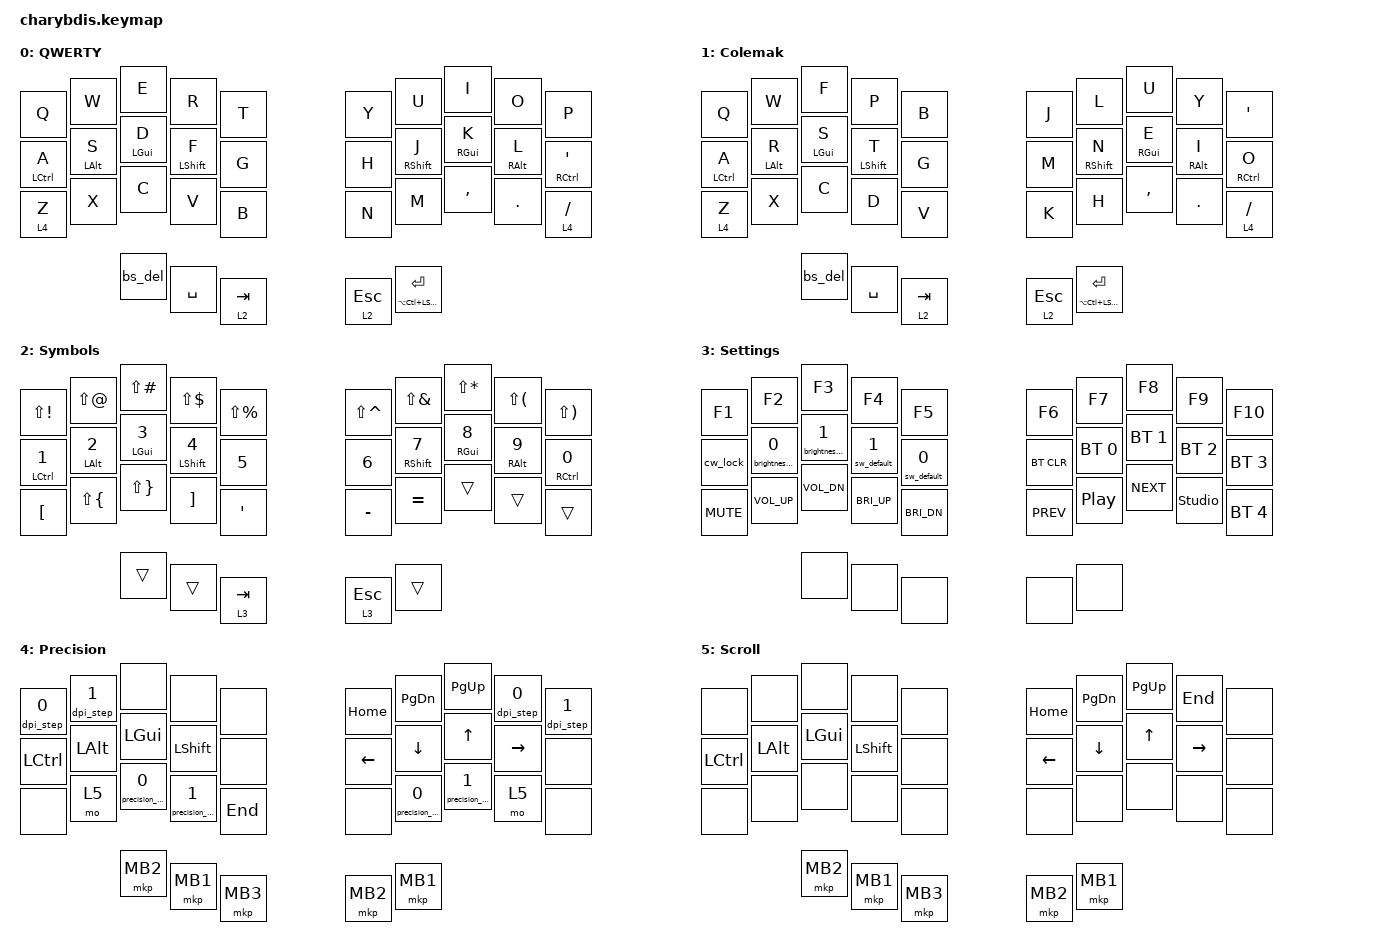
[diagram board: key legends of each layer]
#include <behaviors.dtsi>
#include <dt-bindings/zmk/bt.h>
#include <dt-bindings/zmk/keys.h>
#include <dt-bindings/zmk/pointing.h>

&lt {
    tapping-term-ms = <180>;
    flavor = "balanced";
    quick-tap-ms = <120>;
};

/ {
    behaviors {
        dpi_step: dpi_step {
            display-name = "Default DPI";
            compatible = "charybdis,behavior-dpi-step";
            #binding-cells = <1>;
        };

        precision_step: precision_step {
            display-name = "Precision DPI";
            compatible = "charybdis,behavior-precision-step";
            #binding-cells = <1>;
        };
        brightness_step: brightness_step {
            display-name = "Prospector brightness";
            compatible = "charybdis,behavior-brightness-step";
            #binding-cells = <1>;
        };

        hml: hml {
            compatible = "zmk,behavior-hold-tap";
            label = "HML";
            bindings = <&kp>, <&kp>;

            #binding-cells = <2>;
            tapping-term-ms = <220>;
            quick-tap-ms = <120>;
            require-prior-idle-ms = <100>;
            flavor = "balanced";
            hold-trigger-key-positions = <5 6 7 8 9 15 16 17 18 19 25 26 27 28 29 33 34 30 31 32>;
            hold-trigger-on-release;
        };

        hmr: hmr {
            compatible = "zmk,behavior-hold-tap";
            label = "HMR";
            bindings = <&kp>, <&kp>;

            #binding-cells = <2>;
            tapping-term-ms = <220>;
            quick-tap-ms = <120>;
            require-prior-idle-ms = <100>;
            flavor = "balanced";
            hold-trigger-on-release;
            hold-trigger-key-positions = <0 1 2 3 4 10 11 12 13 14 20 21 22 23 24 30 31 32 33 34>;
        };

        hmls: hmls {
            compatible = "zmk,behavior-hold-tap";
            label = "HMLS";
            bindings = <&kp>, <&kp>;

            #binding-cells = <2>;
            tapping-term-ms = <130>;
            quick-tap-ms = <120>;
            flavor = "balanced";
            hold-trigger-key-positions = <5 6 7 8 9 15 16 17 18 19 25 26 27 28 29 33 34 30 31 32>;
            hold-trigger-on-release;
            hold-while-undecided;
            retro-tap;
        };

        hmrs: hmrs {
            compatible = "zmk,behavior-hold-tap";
            label = "HMRS";
            bindings = <&kp>, <&kp>;

            #binding-cells = <2>;
            tapping-term-ms = <130>;
            quick-tap-ms = <120>;
            flavor = "balanced";
            hold-trigger-on-release;
            hold-trigger-key-positions = <0 1 2 3 4 10 11 12 13 14 20 21 22 23 24 30 31 32 33 34>;
            hold-while-undecided;
            retro-tap;
        };

        hmlc: hmlc {
            compatible = "zmk,behavior-hold-tap";
            label = "HMLC";
            bindings = <&kp>, <&kp>;

            #binding-cells = <2>;
            tapping-term-ms = <220>;
            quick-tap-ms = <120>;
            require-prior-idle-ms = <100>;
            flavor = "balanced";
            hold-while-undecided;
            hold-trigger-key-positions = <5 6 7 8 9 15 16 17 18 19 25 26 27 28 29 33 34 30 31 32>;
            hold-trigger-on-release;
        };

        hmrc: hmrc {
            compatible = "zmk,behavior-hold-tap";
            label = "HMRC";
            bindings = <&kp>, <&kp>;

            #binding-cells = <2>;
            tapping-term-ms = <220>;
            quick-tap-ms = <120>;
            require-prior-idle-ms = <100>;
            flavor = "balanced";
            hold-while-undecided;
            hold-trigger-on-release;
            hold-trigger-key-positions = <0 1 2 3 4 10 11 12 13 14 20 21 22 23 24 30 31 32 33 34>;
        };

        sw_default: switch_default_layer_mode {
            compatible = "zmk-switch-layer,behavior-switch-default-layer-mode";
            #binding-cells = <1>;
            source-layer = <0>;
            target-layer = <1>;
        };

        scroll_tap: scroll_tap {
            compatible = "zmk,behavior-hold-tap";
            #binding-cells = <2>;
            bindings = <&mo>, <&kp>;
            flavor = "tap-preferred";
            tapping-term-ms = <180>;
            quick-tap-ms = <120>;
        };

        bs_del: bs_del {
            compatible = "zmk,behavior-mod-morph";
            label = "BACKSPACE_DELETE";
            bindings = <&kp BACKSPACE>, <&kp DELETE>;

            #binding-cells = <0>;
            mods = <(MOD_RSFT)>;
        };

        cw_lock: cw_lock {
            compatible = "zmk,behavior-tap-dance";
            label = "Caps Word + Lock tap dance";
            display-name = "Caps Word / Caps Lock";
            tapping-term-ms = <200>;
            // One tap: Caps Word; two taps: Caps Lock.
            #binding-cells = <0>;
            bindings = <&caps_word>, <&kp CAPSLOCK>;
        };
    };

    combos {
        compatible = "zmk,combos";

        Grave {
            bindings = <&scroll_tap 5 GRAVE>;
            slow-release;
            key-positions = <20 21>;
            layers = <0 1>;
        };

        Minus {
            bindings = <&scroll_tap 5 MINUS>;
            slow-release;
            key-positions = <28 29>;
            layers = <0 1>;
        };

        Semicolon {
            bindings = <&kp SEMI>;
            key-positions = <18 19>;
            require-prior-idle-ms = <120>;
            layers = <0 1>;
            timeout-ms = <30>;
        };

        Tab {
            bindings = <&kp TAB>;
            key-positions = <10 11>;
            require-prior-idle-ms = <120>;
            timeout-ms = <30>;
        };

        LBracket {
            bindings = <&kp LEFT_BRACKET>;
            key-positions = <8 9>;
            layers = <0 1>;
            require-prior-idle-ms = <120>;
            timeout-ms = <30>;
        };

        Esc {
            bindings = <&kp ESCAPE>;
            key-positions = <0 1>;
            require-prior-idle-ms = <120>;
            timeout-ms = <30>;
        };

        Backslash {
            bindings = <&kp BSLH>;
            key-positions = <28 29>;
            layers = <2>;
        };

        RBracket {
            bindings = <&kp RBKT>;
            key-positions = <8 9>;
            layers = <2>;
            require-prior-idle-ms = <120>;
        };

        CapsWord {
            bindings = <&caps_word>;
            key-positions = <20 21>;
            layers = <2>;
        };
    };

    keymap {
        compatible = "zmk,keymap";

        qwerty {
            display-name = "QWERTY";
            bindings = <
&kp Q         &kp W        &kp E        &kp R          &kp T        &kp Y         &kp U                   &kp I        &kp O        &kp P
&hmlc LCTRL A  &hml LALT S  &hml LGUI D  &hmls LSHFT F  &kp G        &kp H         &hmrs RSHFT J           &hmr RGUI K  &hmr RALT L  &hmrc RCTRL SINGLE_QUOTE
&lt 4 Z       &kp X        &kp C        &kp V          &kp B        &kp N         &kp M                   &kp COMMA    &kp DOT      &lt 4 SLASH
                           &bs_del      &kp SPACE      &lt 2 TAB    &lt 2 ESCAPE  &hmr LA(LC(LSHFT)) RET
            >;
        };

        colemak {
            display-name = "Colemak";
            bindings = <
&kp Q         &kp W        &kp F        &kp P          &kp B        &kp J         &kp L                       &kp U        &kp Y        &kp SINGLE_QUOTE
&hmlc LCTRL A  &hml LALT R  &hml LGUI S  &hmls LSHFT T  &kp G        &kp M         &hmrs RSHFT N               &hmr RGUI E  &hmr RALT I  &hmrc RCTRL O
&lt 4 Z       &kp X        &kp C        &kp D          &kp V        &kp K         &kp H                       &kp COMMA    &kp DOT      &lt 4 SLASH
                           &bs_del      &kp SPACE      &lt 2 TAB    &lt 2 ESCAPE  &hmr LA(LC(LSHFT)) RET
            >;
        };

        lower {
            display-name = "Symbols";
            bindings = <
&kp LS(EXCL)   &kp LS(AT)    &kp LS(POUND)  &kp LS(DLLR)   &kp LS(PRCNT)       &kp LS(CARET)  &kp LS(AMPS)   &kp LS(STAR)  &kp LS(LPAR)  &kp LS(RPAR)
&hmlc LCTRL N1  &hml LALT N2  &hml LGUI N3   &hmlc LSHFT N4  &kp N5              &kp N6         &hmrc RSHFT N7  &hmr RGUI N8  &hmr RALT N9  &hmrc RCTRL N0
&kp LBKT       &kp LS(LBRC)  &kp LS(RBRC)   &kp RBKT       &kp SINGLE_QUOTE    &kp MINUS      &kp EQUAL      &trans        &trans        &trans
                             &trans         &trans         &lt 3 TAB           &lt 3 ESCAPE   &trans
            >;
        };

        settings {
            display-name = "Settings";
            bindings = <
&kp F1      &kp F2        &kp F3        &kp F4        &kp F5          &kp F6      &kp F7            &kp F8        &kp F9          &kp F10
&cw_lock    &brightness_step 0 &brightness_step 1         &sw_default 1         &sw_default 0           &bt BT_CLR  &bt BT_SEL 0      &bt BT_SEL 1  &bt BT_SEL 2    &bt BT_SEL 3
&kp C_MUTE  &kp C_VOL_UP  &kp C_VOL_DN  &kp C_BRI_UP  &kp C_BRI_DN    &kp C_PREV  &kp C_PLAY_PAUSE  &kp C_NEXT    &studio_unlock  &bt BT_SEL 4
                          &none         &none         &none           &none       &none
            >;
        };

        nav {
            display-name = "Precision";
            bindings = <
&dpi_step 0 &dpi_step 1 &none   &none      &none       &kp HOME  &kp PAGE_DOWN  &kp PAGE_UP  &dpi_step 0 &dpi_step 1
&kp LCTRL  &kp LALT  &kp LGUI  &kp LSHFT  &none       &kp LEFT  &kp DOWN       &kp UP       &kp RIGHT  &none
&none      &mo 5     &precision_step 0 &precision_step 1 &kp END    &none     &precision_step 0 &precision_step 1 &mo 5      &none
                     &mkp MB2  &mkp MB1   &mkp MB3    &mkp MB2  &mkp MB1
            >;
        };

        scroll {
            display-name = "Scroll";
            bindings = <
&none      &none     &none     &none      &none       &kp HOME  &kp PAGE_DOWN  &kp PAGE_UP  &kp END    &none
&kp LCTRL  &kp LALT  &kp LGUI  &kp LSHFT  &none       &kp LEFT  &kp DOWN       &kp UP       &kp RIGHT  &none
&none      &none     &none     &none      &none       &none     &none          &none        &none      &none
                     &mkp MB2  &mkp MB1   &mkp MB3    &mkp MB2  &mkp MB1
            >;
        };

    };
};
